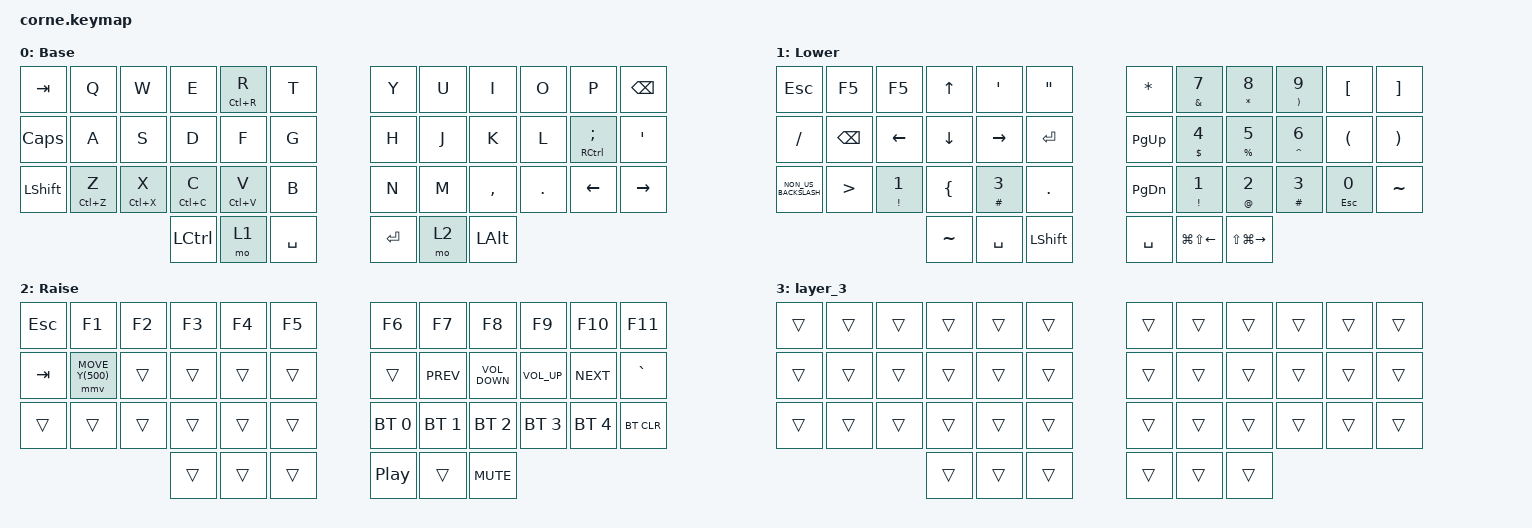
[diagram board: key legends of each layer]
/*
 * Corne v3 Keymap — Optimizado para Programación
 * Copyright (c) 2024 The ZMK Contributors
 * SPDX-License-Identifier: MIT
 *
 * ┌─────────────────────────────────────────────────────────────┐
 * │  LAYER 0 — BAS  │  LAYER 1 — NUM  │  LAYER 2 — SYM         │
 * │  Base QWERTY    │  Numpad + BT/RGB│  Símbolos programación  │
 * └─────────────────────────────────────────────────────────────┘
 *
 * Columna IZQ fila media = CAPS LOCK
 * Columna IZQ fila baja  = CTRL
 */
/*
 * Copyright (c) 2020 The ZMK Contributors
 *
 * SPDX-License-Identifier: MIT
 */

#include <behaviors.dtsi>
#include <dt-bindings/zmk/bt.h>
#include <dt-bindings/zmk/keys.h>
#include <dt-bindings/zmk/pointing.h>

/ {
    behaviors {
        HMR: HMR {
            compatible = "zmk,behavior-hold-tap";
            label = "HMR";
            bindings = <&kp>, <&kp>;

            #binding-cells = <2>;
            tapping-term-ms = <280>;
            quick-tap-ms = <175>;
            flavor = "tap-preferred";
            hold-trigger-key-positions = <0 1 2 3 4 5 12 13 14 15 16 17 24 25 26 27 28 29 36 37 38 39 40 41>;
            hold-trigger-on-release;
        };

        HML: HML {
            compatible = "zmk,behavior-hold-tap";
            label = "HML";
            bindings = <&kp>, <&kp>;

            #binding-cells = <2>;
            tapping-term-ms = <280>;
            quick-tap-ms = <175>;
            flavor = "tap-preferred";
            hold-trigger-on-release;
            hold-trigger-key-positions = <36 37 38 6 7 8 9 10 11 18 19 20 21 22 23 30 31 32 33 34 35 39 40 41>;
        };
    };

    keymap {
        compatible = "zmk,keymap";

        default_layer {
            // -----------------------------------------------------------------------------------------
            // | TAB |  Q  |  W  |  E  |  R  |  T  |   |  Y  |  U  |  I  |  O  |  P  | BKSP |
            // |CAPS/CTRL| A |  S  |  D  |  F  |  G  |   |  H  |  J  |  K  |  L  |  ;  |  ' |
            // |SHIFT| Z  |  X  |  C  |  V  |  B  |   |  N  |  M  |  ,  |  .  |  /  | ENT |
            //                     | ALT | LWR | SPC |   | ENT | RSE | ALT |

            display-name = "Base";
            bindings = <
&kp TAB         &kp Q         &kp W         &kp E         &HML LC(R) R  &kp T        &kp Y      &kp U  &kp I         &kp O    &kp P                         &kp BSPC
&kp CAPSLOCK    &kp A         &kp S         &kp D         &kp F         &kp G        &kp H      &kp J  &kp K         &kp L    &HMR RIGHT_CONTROL SEMICOLON  &kp SQT
&kp LEFT_SHIFT  &HML LC(Z) Z  &HML LC(X) X  &HML LC(C) C  &HML LC(V) V  &kp B        &kp N      &kp M  &kp COMMA     &kp DOT  &kp LEFT_ARROW                &kp RIGHT
                                            &kp LCTRL     &mo 1         &kp SPACE    &kp ENTER  &mo 2  &kp LEFT_ALT
            >;
        };

        lower_layer {
            // -----------------------------------------------------------------------------------------
            // |  TAB |  1  |  2  |  3  |  4  |  5  |   |  6  |  7  |  8  |  9  |  0  | BKSP |
            // | BTCLR| BT1 | BT2 | BT3 | BT4 | BT5 |   | LFT | DWN |  UP | RGT |     |      |
            // | SHFT |     |     |     |     |     |   |     |     |     |     |     |      |
            //                    | GUI |     | SPC |   | ENT |     | ALT |

            display-name = "Lower";
            bindings = <
&kp ESC               &kp F5            &kp F5                    &kp UP_ARROW    &kp SINGLE_QUOTE   &kp DOUBLE_QUOTES    &kp ASTERISK   &mt AMPERSAND N7          &mt ASTERISK N8       &mt RIGHT_PARENTHESIS N9  &kp LEFT_BRACKET      &kp RIGHT_BRACKET
&kp SLASH             &kp BACKSPACE     &kp LEFT                  &kp DOWN_ARROW  &kp RIGHT          &kp ENTER            &kp PAGE_UP    &mt DOLLAR NUMBER_4       &mt PERCENT N5        &mt CARET NUMBER_6        &kp LEFT_PARENTHESIS  &kp RIGHT_PARENTHESIS
&kp NON_US_BACKSLASH  &kp GREATER_THAN  &mt EXCLAMATION NUMBER_1  &kp LEFT_BRACE  &mt HASH NUMBER_3  &kp PERIOD           &kp PAGE_DOWN  &mt EXCLAMATION NUMBER_1  &mt AT_SIGN NUMBER_2  &mt HASH NUMBER_3         &mt ESCAPE N0         &kp TILDE
                                                                  &kp TILDE       &kp SPACE          &kp LEFT_SHIFT       &kp SPACE      &kp LG(LS(LEFT))          &kp LS(LG(RIGHT))
            >;
        };

        raise_layer {
            // -----------------------------------------------------------------------------------------
            // |  TAB |  !  |  @  |  #  |  $  |  %  |   |  ^  |  &  |  *  |  (  |  )  | BKSP |
            // | CTRL |     |     |     |     |     |   |  -  |  =  |  [  |  ]  |  \  |  `   |
            // | SHFT |     |     |     |     |     |   |  _  |  +  |  {  |  }  | "|" |  ~   |
            //                    | GUI |     | SPC |   | ENT |     | ALT |

            display-name = "Raise";
            bindings = <
&kp ESC  &kp F1            &kp F2  &kp F3  &kp F4  &kp F5    &kp F6            &kp F7        &kp F8             &kp F9        &kp F10       &kp F11
&kp TAB  &mmv MOVE_Y(500)  &trans  &trans  &trans  &trans    &trans            &kp C_PREV    &kp K_VOLUME_DOWN  &kp K_VOL_UP  &kp C_NEXT    &kp GRAVE
&trans   &trans            &trans  &trans  &trans  &trans    &bt BT_SEL 0      &bt BT_SEL 1  &bt BT_SEL 2       &bt BT_SEL 3  &bt BT_SEL 4  &bt BT_CLR
                                   &trans  &trans  &trans    &kp C_PLAY_PAUSE  &trans        &kp C_MUTE
            >;
        };

        layer_3 {
            bindings = <
&trans  &trans  &trans  &trans  &trans  &trans    &trans  &trans  &trans  &trans  &trans  &trans
&trans  &trans  &trans  &trans  &trans  &trans    &trans  &trans  &trans  &trans  &trans  &trans
&trans  &trans  &trans  &trans  &trans  &trans    &trans  &trans  &trans  &trans  &trans  &trans
                        &trans  &trans  &trans    &trans  &trans  &trans
            >;
        };
    };
};
